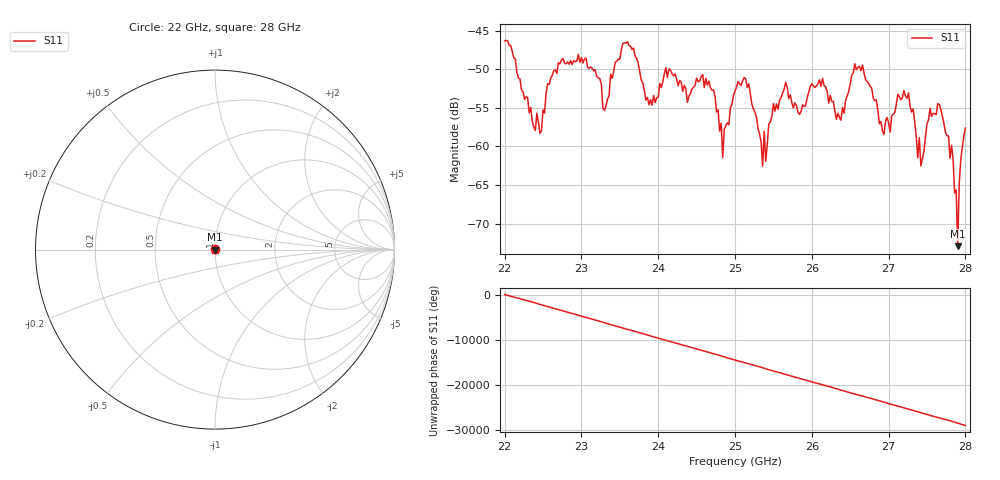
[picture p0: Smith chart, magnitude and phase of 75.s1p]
#  HZ  S  RI  R  50.00
! Rohde & Schwarz ZVA40 4Ports - Version 3.90 - 1145.1110k42 SN: 100403
! Date: 2023-10-04 10:51:52
! Measurement: S12
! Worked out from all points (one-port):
!   301 points, 22 GHz to 28 GHz, reference 50 ohm
!   lowest |S11| = -72.9 dB at 27.9 GHz (marker M1), VSWR 1.00, Z = 50 - j0.00181 ohm
!   |S11| at or under -10 dB: start of sweep to end of sweep
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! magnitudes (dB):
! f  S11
! 22 GHz  -46.3
! 22.46 GHz  -58.3
! 22.76 GHz  -48.6
! 23.3 GHz  -55.3
! 23.5 GHz  -48.7
! 23.68 GHz  -47.2
! 23.88 GHz  -54.6
! 24.26 GHz  -52.1
! 24.66 GHz  -51.5
! 24.84 GHz  -61.5
! 25 GHz  -52.8
! 25.18 GHz  -51.9
! 25.36 GHz  -62.6
! 25.5 GHz  -54.4
! 25.76 GHz  -55.0
! 26.14 GHz  -51.2
! 26.38 GHz  -56.6
! 26.5 GHz  -51.9
! 26.66 GHz  -49.5
! 26.94 GHz  -58.4
! 27.26 GHz  -53.0
! 27.42 GHz  -62.5
! 27.66 GHz  -54.5
! 27.82 GHz  -59.8
! 27.88 GHz  -65.7
! 27.9 GHz  -72.9
! 27.92 GHz  -64.7
! 28 GHz  -57.6
